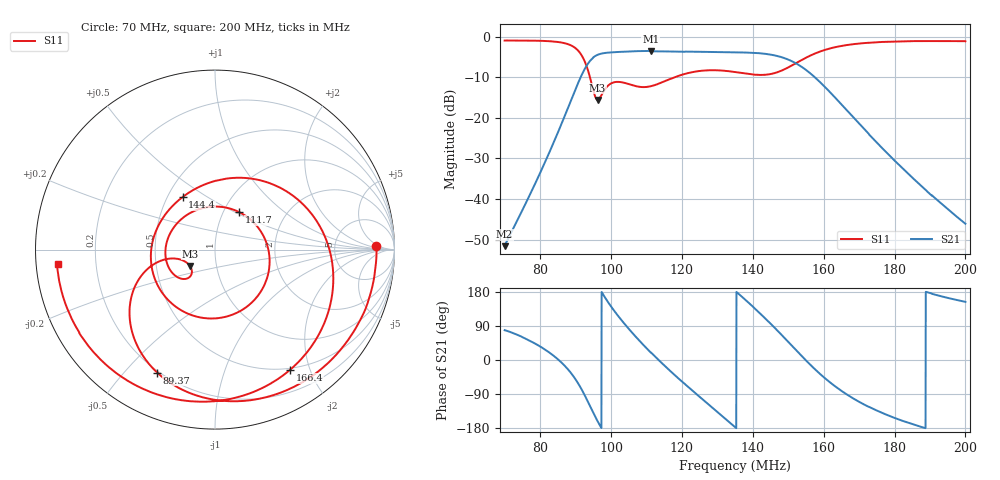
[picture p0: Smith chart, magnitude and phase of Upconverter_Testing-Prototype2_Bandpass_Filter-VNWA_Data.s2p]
! ListType=Lin
# MHZ S DB R 50
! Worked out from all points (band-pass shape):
!   2048 points, 70 MHz to 200 MHz, reference 50 ohm
!   highest |S21| = -3.48 dB at 111.2 MHz (marker M1); lowest = -51.6 dB at 70 MHz (marker M2)
!   |S21| within 3 dB of the highest: 93.62 MHz to 152.1 MHz (58.46 MHz wide, 47.6 % of centre)
!   lowest |S11| = -15.6 dB at 96.23 MHz (marker M3), VSWR 1.40, Z = 37.2 - j7.03 ohm
!   |S11| at or under -10 dB: 94.09 MHz to 117.9 MHz (23.79 MHz wide, 22.4 % of centre)
!   S12 and S22 are empty: the file has one direction only
!   S11 on the Smith chart (normalised r, x): 70 MHz: 18, +4; 89.37 MHz: 0.19, -0.62; 111.7 MHz: 1.18, +0.53; 144.4 MHz: 0.60, +0.40; 166.4 MHz: 0.48, -1.70; 200 MHz: 0.06, -0.05
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70  -0.92 1.3  -51.62 78.6  -3000.00 -90.0  -3000.00 -90.0
80.22472  -0.99 -44.9  -33.17 34.5  -3000.00 -90.0  -3000.00 -90.0
85.62286  -1.35 -80.3  -22.37 -3.0  -3000.00 -90.0  -3000.00 -90.0
89.36981  -2.41 -115.1  -14.28 -42.3  -3000.00 -90.0  -3000.00 -90.0
91.71959  -4.55 -143.5  -9.46 -77.4  -3000.00 -90.0  -3000.00 -90.0
94.00586  -9.72 -167.7  -6.05 -119.7  -3000.00 -90.0  -3000.00 -90.0
96.22863  -15.56 -146.6  -4.44 -161.5  -3000.00 -90.0  -3000.00 -90.0
99.08647  -12.12 -139.1  -3.91 154.0  -3000.00 -90.0  -3000.00 -90.0
103.3415  -11.26 174.7  -3.68 100.9  -3000.00 -90.0  -3000.00 -90.0
111.2164  -12.19 63.5  -3.48 19.9  -3000.00 -90.0  -3000.00 -90.0
111.661  -12.09 57.3  -3.58 16.4  -3000.00 -90.0  -3000.00 -90.0
113.3757  -11.59 34.6  -3.58 0.6  -3000.00 -90.0  -3000.00 -90.0
119.0278  -9.64 -27.8  -3.66 -48.5  -3000.00 -90.0  -3000.00 -90.0
123.9179  -8.56 -71.9  -3.69 -88.3  -3000.00 -90.0  -3000.00 -90.0
135.0318  -8.69 -161.6  -3.81 -177.3  -3000.00 -90.0  -3000.00 -90.0
144.4309  -9.27 121.8  -4.31 101.5  -3000.00 -90.0  -3000.00 -90.0
150.9086  -7.13 64.5  -5.96 39.0  -3000.00 -90.0  -3000.00 -90.0
156.6878  -4.45 12.3  -9.33 -16.6  -3000.00 -90.0  -3000.00 -90.0
166.4045  -2.05 -58.1  -17.96 -90.0  -3000.00 -90.0  -3000.00 -90.0
178.3439  -1.20 -114.0  -29.06 -146.7  -3000.00 -90.0  -3000.00 -90.0
188.4416  -1.04 -146.6  -37.47 -179.0  -3000.00 -90.0  -3000.00 -90.0
200  -1.11 -174.7  -46.08 153.4  -3000.00 -90.0  -3000.00 -90.0
